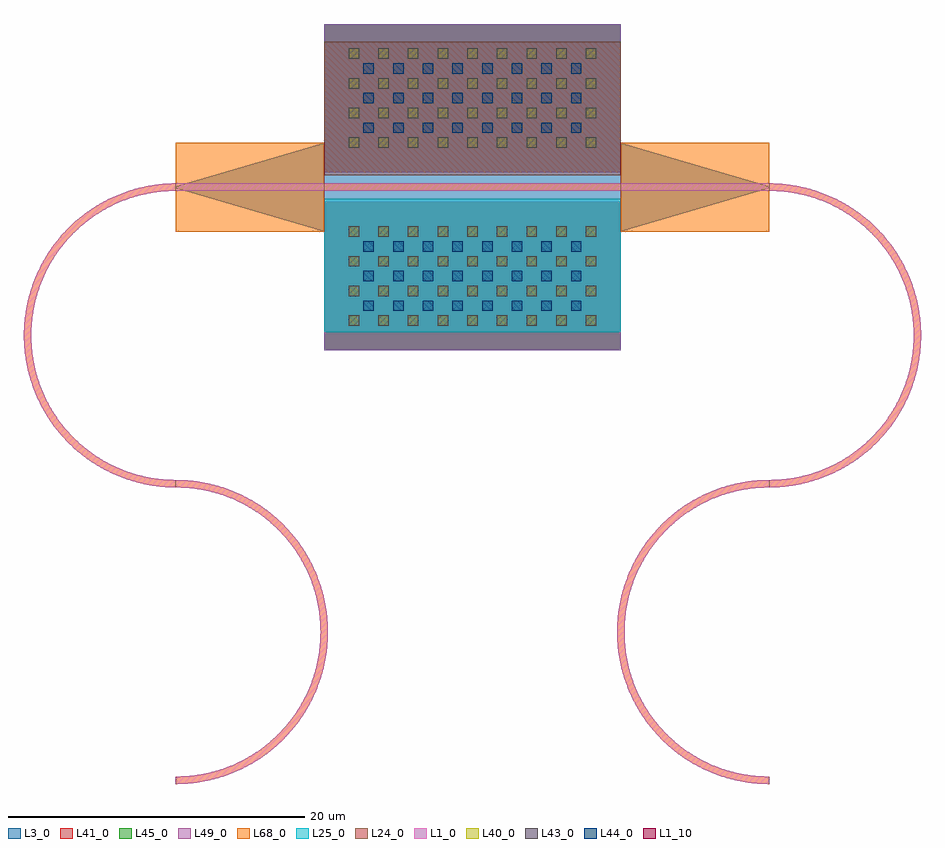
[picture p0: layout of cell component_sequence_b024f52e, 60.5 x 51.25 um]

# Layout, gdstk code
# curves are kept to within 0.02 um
from math import pi, radians
import gdstk
lib = gdstk.Library(unit=1e-6, precision=1e-09)
def R(c, l, rs):  # rectangles x0, y0, x1, y1
    for r in rs: c.add(gdstk.rectangle(r[:2], r[2:], *l))
def P(c, l, *ps):  # polygons
    for p in ps: c.add(gdstk.Polygon(p, *l))
L1_0 = (1, 0)
L1_10 = (1, 10)
L3_0 = (3, 0)
L24_0 = (24, 0)
L25_0 = (25, 0)
L40_0 = (40, 0)
L41_0 = (41, 0)
L43_0 = (43, 0)
L44_0 = (44, 0)
L45_0 = (45, 0)
L49_0 = (49, 0)
L68_0 = (68, 0)

bend_circular_angle180 = lib.new_cell('bend_circular_angle180')
P(bend_circular_angle180, L1_0, [(0.09,-0.25),(1.074,-0.194),(2.137,-0.025),(3.091,0.227),(4.016,0.569),(4.982,1.042),(5.82,1.562),(6.672,2.219),(7.433,2.942),(6.726,2.942),(6.017,2.328),(5.18,1.74),(4.285,1.242),(3.344,0.841),(2.448,0.562),(1.614,0.384),(0.852,0.287),(0,0.25),(0,-0.25)],
  [(7.451,2.961),(8.038,3.639),(8.612,4.441),(9.147,5.375),(9.549,6.275),(9.863,7.21),(10.086,8.171),(10.215,9.149),(10.25,10.043),(9.75,10.043),(9.692,8.936),(9.489,7.759),(9.144,6.616),(8.701,5.6),(8.238,4.784),(7.802,4.152),(7.318,3.557),(6.726,2.942)],
  [(10.25,10.045),(10.179,11.208),(9.976,12.356),(9.644,13.473),(9.147,14.625),(8.847,15.177),(8.412,15.857),(7.982,16.431),(7.389,17.104),(6.678,17.104),(7.261,16.507),(7.802,15.848),(8.238,15.216),(8.701,14.4),(9.144,13.384),(9.489,12.241),(9.672,11.234),(9.75,10.043)],
  [(7.327,17.168),(6.604,17.839),(5.82,18.438),(4.982,18.958),(4.016,19.431),(3.005,19.8),(1.961,20.061),(0.985,20.203),(0,20.25),(0,19.75),(0.852,19.713),(1.614,19.616),(2.448,19.438),(3.263,19.188),(4.208,18.795),(5.034,18.35),(5.882,17.776),(6.678,17.104),(7.389,17.104)])
P(bend_circular_angle180, L68_0, [(0.09,-0.25),(1.074,-0.194),(2.137,-0.025),(3.091,0.227),(4.016,0.569),(4.982,1.042),(5.82,1.562),(6.672,2.219),(7.433,2.942),(6.726,2.942),(6.017,2.328),(5.18,1.74),(4.285,1.242),(3.344,0.841),(2.448,0.562),(1.614,0.384),(0.852,0.287),(0,0.25),(0,-0.25)],
  [(7.451,2.961),(8.038,3.639),(8.612,4.441),(9.147,5.375),(9.549,6.275),(9.863,7.21),(10.086,8.171),(10.215,9.149),(10.25,10.043),(9.75,10.043),(9.692,8.936),(9.489,7.759),(9.144,6.616),(8.701,5.6),(8.238,4.784),(7.802,4.152),(7.318,3.557),(6.726,2.942)],
  [(10.25,10.045),(10.179,11.208),(9.976,12.356),(9.644,13.473),(9.147,14.625),(8.847,15.177),(8.412,15.857),(7.982,16.431),(7.389,17.104),(6.678,17.104),(7.261,16.507),(7.802,15.848),(8.238,15.216),(8.701,14.4),(9.144,13.384),(9.489,12.241),(9.672,11.234),(9.75,10.043)],
  [(7.327,17.168),(6.604,17.839),(5.82,18.438),(4.982,18.958),(4.016,19.431),(3.005,19.8),(1.961,20.061),(0.985,20.203),(0,20.25),(0,19.75),(0.852,19.713),(1.614,19.616),(2.448,19.438),(3.263,19.188),(4.208,18.795),(5.034,18.35),(5.882,17.776),(6.678,17.104),(7.389,17.104)])
bend_circular_angle180.add(gdstk.FlexPath([(0.001,0),(-0.001,0)], 0.5, ends="flush", simple_path=True, layer=1, datatype=10))  # L1_10
bend_circular_angle180.add(gdstk.FlexPath([(0.001,20),(-0.001,20)], 0.5, ends="flush", simple_path=True, layer=1, datatype=10))  # L1_10
bend_circular_angle180.add(gdstk.Label('o1', (0,0), layer=1, texttype=10))
bend_circular_angle180.add(gdstk.Label('o2', (0,20), layer=1, texttype=10))

straight_7b0384b3 = lib.new_cell('straight_7b0384b3')
R(straight_7b0384b3, L1_0, [(0,-0.25,20,0.25)])
R(straight_7b0384b3, L3_0, [(0,-10,20,10)])
R(straight_7b0384b3, L24_0, [(0,0.8,20,9.8)])
R(straight_7b0384b3, L25_0, [(0,-9.8,20,-0.8)])
R(straight_7b0384b3, L68_0, [(0,-0.25,20,0.25)])
straight_7b0384b3.add(gdstk.FlexPath([(0.001,0),(-0.001,0)], 0.5, ends="flush", simple_path=True, layer=1, datatype=10))  # L1_10
straight_7b0384b3.add(gdstk.FlexPath([(19.999,0),(20.001,0)], 0.5, ends="flush", simple_path=True, layer=1, datatype=10))  # L1_10
straight_7b0384b3.add(gdstk.Label('o1', (0,0), layer=1, texttype=10))
straight_7b0384b3.add(gdstk.Label('o2', (20,0), layer=1, texttype=10))

taper_strip_to_ridge = lib.new_cell('taper_strip_to_ridge')
R(taper_strip_to_ridge, L1_0, [(0,-0.25,10,0.25)])
P(taper_strip_to_ridge, L3_0, [(0,0.075),(10,3),(10,-3),(0,-0.075)])
R(taper_strip_to_ridge, L68_0, [(0,-3,10,3)])
taper_strip_to_ridge.add(gdstk.FlexPath([(0.001,0),(-0.001,0)], 0.5, ends="flush", simple_path=True, layer=1, datatype=10))  # L1_10
taper_strip_to_ridge.add(gdstk.FlexPath([(9.999,0),(10.001,0)], 6, ends="flush", simple_path=True, layer=1, datatype=10))  # L1_10
taper_strip_to_ridge.add(gdstk.Label('o1', (0,0), layer=1, texttype=10))
taper_strip_to_ridge.add(gdstk.Label('o2', (10,0), layer=1, texttype=10))
taper_strip_to_ridge.add(gdstk.Label('o1', (0,0), layer=1, texttype=10))
taper_strip_to_ridge.add(gdstk.Label('o2', (10,0), layer=1, texttype=10))
taper_strip_to_ridge.add(gdstk.Label('o1', (0,0), layer=1, texttype=10))
taper_strip_to_ridge.add(gdstk.Label('o2', (10,0), layer=1, texttype=10))

compass_afe4cc08 = lib.new_cell('compass_afe4cc08')
R(compass_afe4cc08, L3_0, [(-10,-5,10,5)])

compass_03dff63b = lib.new_cell('compass_03dff63b')
R(compass_03dff63b, L41_0, [(-10,-5,10,5)])

compass_0f4f803a = lib.new_cell('compass_0f4f803a')
R(compass_0f4f803a, L45_0, [(-10,-5,10,5)])

compass_96c46e9f = lib.new_cell('compass_96c46e9f')
R(compass_96c46e9f, L49_0, [(-10,-5,10,5)])

via = lib.new_cell('via')
R(via, L40_0, [(-0.35,-0.35,0.35,0.35)])

via_enclosure2_layervia1 = lib.new_cell('via_enclosure2_layerVIA1')
R(via_enclosure2_layervia1, L44_0, [(-0.35,-0.35,0.35,0.35)])

via_layervia2 = lib.new_cell('via_layerVIA2')
R(via_layervia2, L43_0, [(-0.35,-0.35,0.35,0.35)])

via_stack_ec0dde6d = lib.new_cell('via_stack_ec0dde6d')
via_stack_ec0dde6d.add(gdstk.Reference(compass_afe4cc08, (0,0)))
via_stack_ec0dde6d.add(gdstk.Reference(compass_03dff63b, (0,0)))
via_stack_ec0dde6d.add(gdstk.Reference(compass_0f4f803a, (0,0)))
via_stack_ec0dde6d.add(gdstk.Reference(compass_96c46e9f, (0,0)))
r = gdstk.Reference(via, (-8,-3)); r.repetition = gdstk.Repetition(9, 4, v1=(2,0), v2=(0,2)); via_stack_ec0dde6d.add(r)
r = gdstk.Reference(via_enclosure2_layervia1, (-7,-2)); r.repetition = gdstk.Repetition(8, 3, v1=(2,0), v2=(0,2)); via_stack_ec0dde6d.add(r)
r = gdstk.Reference(via_layervia2, (-8,-3)); r.repetition = gdstk.Repetition(9, 4, v1=(2,0), v2=(0,2)); via_stack_ec0dde6d.add(r)

straight_pin_length40 = lib.new_cell('straight_pin_length40')
straight_pin_length40.add(gdstk.Reference(straight_7b0384b3, (0,0)))
straight_pin_length40.add(gdstk.Reference(taper_strip_to_ridge, (-10,0)))
straight_pin_length40.add(gdstk.Reference(taper_strip_to_ridge, (30,0), rotation=pi))
straight_pin_length40.add(gdstk.Reference(via_stack_ec0dde6d, (9.999,6)))
straight_pin_length40.add(gdstk.Reference(via_stack_ec0dde6d, (9.999,-6)))

component_sequence_b024f = lib.new_cell('component_sequence_b024f52e')
component_sequence_b024f.add(gdstk.Reference(bend_circular_angle180, (0,0)))
component_sequence_b024f.add(gdstk.Reference(bend_circular_angle180, (0,40), rotation=pi))
component_sequence_b024f.add(gdstk.Reference(straight_pin_length40, (10,40)))
component_sequence_b024f.add(gdstk.Reference(bend_circular_angle180, (40,20)))
component_sequence_b024f.add(gdstk.Reference(bend_circular_angle180, (40,20), rotation=pi))

lib.write_gds('component_sequence_b024f52e.gds')
